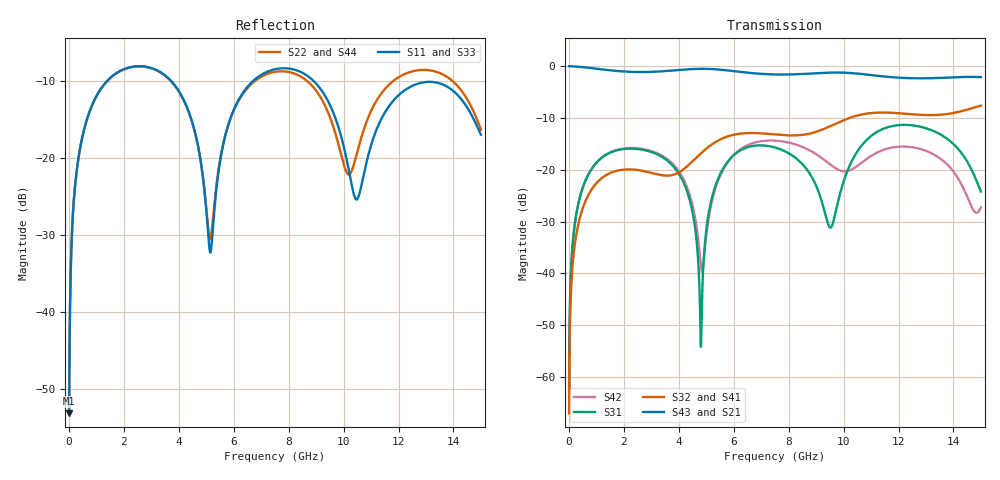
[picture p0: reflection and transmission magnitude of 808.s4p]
! Created with skrf 1.8.0 (http://scikit-rf.org).
# GHz S RI R 50.0
!freq ReS11 ImS11 ReS12 ImS12 ReS13 ImS13
! ReS14 ImS14
! ReS21 ImS21 ReS22 ImS22 ReS23 ImS23
! ReS24 ImS24
! ReS31 ImS31 ReS32 ImS32 ReS33 ImS33
! ReS34 ImS34
! ReS41 ImS41 ReS42 ImS42 ReS43 ImS43
! ReS44 ImS44
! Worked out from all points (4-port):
!   2499 points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, 5 MHz to 15 GHz, reference 50 ohm
!   strongest paths, dB at 5 MHz, 3.476 GHz, 7.19 GHz, 11.1 GHz, 15 GHz:
!     S43: 0.0, -1.0, -1.6, -1.8, -2.1
!     S21: 0.0, -1.0, -1.6, -1.8, -2.1
!     S32: -67.0, -21.1, -13.0, -9.0, -7.6
!     S41: -67.0, -21.1, -13.1, -9.0, -7.6
!     S31: -63.0, -17.8, -15.4, -13.1, -24.2
!     S42: -63.0, -17.6, -14.4, -17.0, -27.2
!   lowest |S11| = -53.2 dB at 5 MHz (marker M1), VSWR 1.00, Z = 50.2 + j0.133 ohm
!   |S11| at or under -10 dB: start of sweep to 1.406 GHz; 3.705 GHz to 6.722 GHz (3.017 GHz wide, 57.9 % of centre); 8.891 GHz to end of sweep
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0.005  0.00174 0.00132  0.9982 -0.00339  8.83e-05 0.000705  -8.57e-05 -0.00044
       0.9982 -0.00339  0.00174 0.00132  -8.57e-05 -0.00044  8.83e-05 0.000705
       8.83e-05 0.000705  -8.57e-05 -0.00044  0.00174 0.00132  0.9982 -0.00339
       -8.57e-05 -0.00044  8.83e-05 0.000705  0.9982 -0.00339  0.00174 0.00132
0.3626511  0.0335 0.0983  0.9537 -0.2418  0.0161 0.0473  -0.0135 -0.0287
           0.9537 -0.2418  0.0335 0.0983  -0.0135 -0.0287  0.0165 0.0471
           0.0161 0.0473  -0.0135 -0.0287  0.0335 0.0983  0.9537 -0.2418
           -0.0135 -0.0287  0.0165 0.0471  0.9537 -0.2418  0.0335 0.0983
1.619545  0.3017 0.1615  0.4765 -0.7678  0.1399 0.0554  -0.0955 0.0064
          0.4765 -0.7678  0.3004 0.1625  -0.0955 0.00638  0.1436 0.0494
          0.1399 0.0554  -0.0955 0.00638  0.3017 0.1615  0.4766 -0.7678
          -0.0955 0.0064  0.1436 0.0494  0.4766 -0.7678  0.3003 0.1625
4.802001  0.041 -0.0843  -0.9003 -0.2745  0.00196 -7.94e-05  -0.0372 0.1391
          -0.9003 -0.2745  0.0459 -0.0806  -0.0377 0.1389  -0.0104 -0.006
          0.00196 -7.94e-05  -0.0377 0.1389  0.0398 -0.0846  -0.9002 -0.2746
          -0.0372 0.1391  -0.0104 -0.006  -0.9002 -0.2746  0.0471 -0.0801
7.909546  0.3786 -0.0274  -0.0335 0.8281  0.1416 -0.0453  0.2073 -0.0558
          -0.0335 0.8281  0.361 -0.016  0.2079 -0.0553  0.1418 -0.119
          0.1416 -0.0453  0.2079 -0.0553  0.3774 -0.0241  -0.0339 0.8286
          0.2073 -0.0558  0.1418 -0.119  -0.0339 0.8286  0.3598 -0.0189
10.6732  0.0623 0.0293  0.8358 -0.0535  0.1259 0.1193  -0.0406 -0.3398
         0.8358 -0.0535  0.109 0.0878  -0.0395 -0.3396  -0.0287 0.1143
         0.1259 0.1193  -0.0395 -0.3396  0.0645 0.0303  0.8359 -0.0528
         -0.0406 -0.3398  -0.0287 0.1143  0.8359 -0.0528  0.1065 0.0884
15  0.1255 -0.0635  -0.6554 -0.426  -0.0566 -0.0247  -0.2195 0.3536
    -0.6554 -0.426  0.1136 -0.1008  -0.221 0.352  -0.0391 0.0188
    -0.0566 -0.0247  -0.221 0.352  0.1247 -0.0501  -0.6573 -0.4257
    -0.2195 0.3536  -0.0391 0.0188  -0.6573 -0.4257  0.1019 -0.0941
